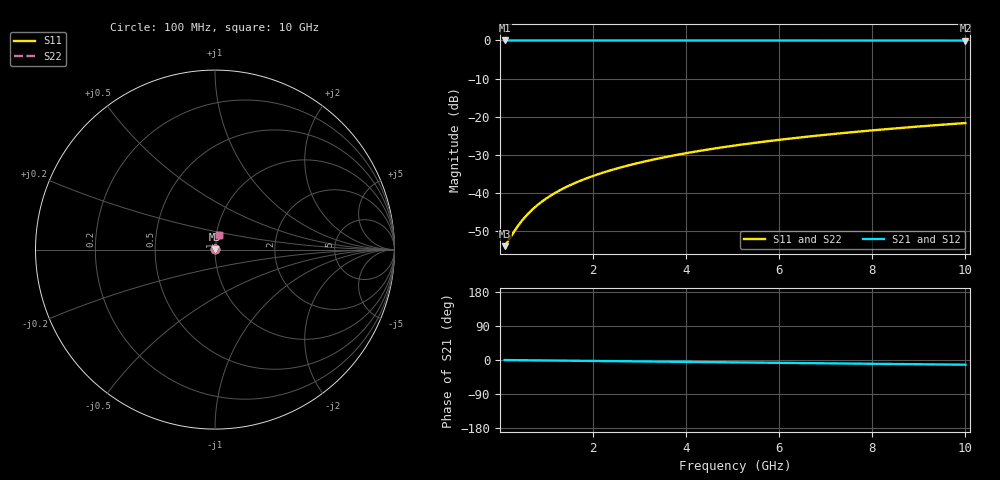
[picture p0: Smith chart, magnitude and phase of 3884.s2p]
# Hz S RI R 50.00
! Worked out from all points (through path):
!   100 points, 100 MHz to 10 GHz, reference 50 ohm
!   highest |S21| = -0.02 dB at 100 MHz (marker M1); lowest = 0.0 dB at 10 GHz (marker M2)
!   group delay of S21, straight-line fit = 3.46 ps
!   lowest |S11| = -54.0 dB at 100 MHz (marker M3), VSWR 1.00, Z = 50.2 + j0.0829 ohm
!   |S11| at or under -10 dB: start of sweep to end of sweep
!   |S22| runs from -54.0 to -21.7 dB; largest |S21 - S12| = 0
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1e8  0.00183 0.000826  0.9982 -0.00217  0.9982 -0.00217  0.00183 0.000826
2e8  0.00185 0.00165  0.9981 -0.00433  0.9981 -0.00433  0.00185 0.00165
3e8  0.00186 0.00248  0.9981 -0.0065  0.9981 -0.0065  0.00186 0.00248
4e8  0.00188 0.0033  0.9981 -0.00866  0.9981 -0.00866  0.00188 0.0033
5e8  0.0019 0.00413  0.9981 -0.0108  0.9981 -0.0108  0.0019 0.00413
6e8  0.00193 0.00495  0.998 -0.013  0.998 -0.013  0.00193 0.00495
7e8  0.00196 0.00578  0.998 -0.0152  0.998 -0.0152  0.00196 0.00578
8e8  0.00199 0.00661  0.9979 -0.0173  0.9979 -0.0173  0.00199 0.00661
1e9  0.00206 0.00826  0.9978 -0.0217  0.9978 -0.0217  0.00206 0.00826
1.2e9  0.00214 0.0099  0.9977 -0.026  0.9977 -0.026  0.00214 0.0099
1.5e9  0.0023 0.0124  0.9975 -0.0325  0.9975 -0.0325  0.0023 0.0124
1.8e9  0.00248 0.0148  0.9972 -0.039  0.9972 -0.039  0.00248 0.0148
2.1e9  0.0027 0.0173  0.9969 -0.0455  0.9969 -0.0455  0.0027 0.0173
2.5e9  0.00303 0.0206  0.9964 -0.0541  0.9964 -0.0541  0.00303 0.0206
2.9e9  0.00343 0.0239  0.9958 -0.0628  0.9958 -0.0628  0.00343 0.0239
3.4e9  0.004 0.028  0.9949 -0.0736  0.9949 -0.0736  0.004 0.028
4.2e9  0.0051 0.0345  0.9933 -0.0908  0.9933 -0.0908  0.0051 0.0345
5.1e9  0.0066 0.0418  0.991 -0.1102  0.991 -0.1102  0.0066 0.0418
5.9e9  0.00818 0.0482  0.9886 -0.1274  0.9886 -0.1274  0.00818 0.0482
6.7e9  0.00998 0.0546  0.9859 -0.1446  0.9859 -0.1446  0.00998 0.0546
8.4e9  0.0146 0.0679  0.9789 -0.1808  0.9789 -0.1808  0.0146 0.0679
1e10  0.0198 0.0801  0.971 -0.2147  0.971 -0.2147  0.0198 0.0801
